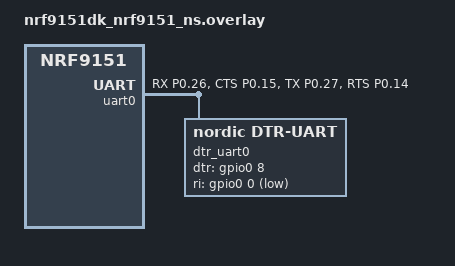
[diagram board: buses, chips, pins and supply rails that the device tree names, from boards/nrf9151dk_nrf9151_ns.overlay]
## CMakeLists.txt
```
#
# Copyright (c) 2019 Nordic Semiconductor
#
# SPDX-License-Identifier: LicenseRef-Nordic-5-Clause
#

cmake_minimum_required(VERSION 3.20.0)

find_package(Zephyr REQUIRED HINTS $ENV{ZEPHYR_BASE})
project(serial_modem)

# NORDIC SDK APP START
target_sources(app PRIVATE src/main.c)
target_sources(app PRIVATE src/sm_util.c)
target_sources(app PRIVATE src/sm_ctrl_pin.c)
target_sources(app PRIVATE src/sm_settings.c)
target_sources(app PRIVATE src/sm_at_host.c)
target_sources(app PRIVATE src/sm_at_commands.c)
target_sources(app PRIVATE src/sm_at_socket.c)
target_sources(app PRIVATE src/sm_at_dfu.c)
target_sources(app PRIVATE src/sm_uart_handler.c)
target_sources(app PRIVATE src/sm_log.c)
target_sources(app PRIVATE src/sm_at_urc_filter.c)
# NORDIC SDK APP END
target_sources_ifdef(CONFIG_SM_FW_UPDATE app PRIVATE src/sm_fw_update.c)
target_sources_ifdef(CONFIG_SM_FOTA_SESSION app PRIVATE src/sm_fota_session.c)
target_sources_ifdef(CONFIG_SM_FOTA app PRIVATE src/sm_at_fota.c)
target_sources_ifdef(CONFIG_SM_SMS app PRIVATE src/sm_at_sms.c)
target_sources_ifdef(CONFIG_SM_PPP app PRIVATE src/sm_ppp.c)
target_sources_ifdef(CONFIG_SM_CMUX app PRIVATE src/sm_cmux.c)
target_sources_ifdef(CONFIG_SM_ICMP app PRIVATE src/sm_at_icmp.c)
target_sources_ifdef(CONFIG_SM_GNSS app PRIVATE src/sm_at_gnss.c)
target_sources_ifdef(CONFIG_SM_NRF_CLOUD app PRIVATE src/sm_at_nrfcloud.c)
target_sources_ifdef(CONFIG_SM_NRF_CLOUD_OBSERVABILITY app PRIVATE src/sm_at_nrfcloud_obs.c)
target_sources_ifdef(CONFIG_SM_NRF_CLOUD_FOTA app PRIVATE src/sm_at_nrfcloud_fota.c)
target_sources_ifdef(CONFIG_SM_MQTTC app PRIVATE src/sm_at_mqtt.c)
target_sources_ifdef(CONFIG_SM_COAPC app PRIVATE src/sm_at_coap.c)
target_sources_ifdef(CONFIG_SM_HTTPC app PRIVATE src/sm_at_httpc.c)
target_sources_ifdef(CONFIG_SM_MODEM_TRACE_BACKEND_CMUX app PRIVATE src/sm_trace_backend_cmux.c)
target_sources_ifdef(CONFIG_SM_MODEM_TRACE_BACKEND_UART app PRIVATE src/sm_trace_backend_uart.c)
target_sources_ifdef(CONFIG_NRF_PROVISIONING app PRIVATE src/sm_at_provisioning.c)
target_sources_ifdef(CONFIG_SM_NRF_CLOUD_OBSERVABILITY_LTE_METRICS app PRIVATE src/sm_at_nrfcloud_obs_lte_metrics.c)

add_subdirectory_ifdef(CONFIG_SM_CARRIER src/lwm2m_carrier)

zephyr_include_directories(src)
zephyr_include_directories(memfault)

include(cmake/sm_version.cmake)
```

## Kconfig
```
#
# Copyright (c) 2019 Nordic Semiconductor
#
# SPDX-License-Identifier: LicenseRef-Nordic-5-Clause
#

source "Kconfig.zephyr"

menu "Nordic Serial Modem"

config SM_CUSTOMER_VERSION
	string "Customer version string"
	help
	   This version is reported together with baseline versions by AT command "#XSMVER".

config SM_AT_BUF_SIZE
	int "AT command buffer size"
	range 128 8192
	default 4096
	help
	  Size of the buffer for incoming AT commands and modem responses.

#
# external XTAL for UART
#
config SM_EXTERNAL_XTAL
	bool "Use external XTAL for UARTE"
	default y

#
# AT command terminator
#
choice
	prompt "Termination mode"
	default SM_CR_TERMINATION
	help
	  Sets the command terminator used by the serial terminal.
	  Available options are:
	  -  CR termination
	  -  LF termination
	  -  CR+LF termination

config SM_CR_TERMINATION
	bool "CR termination"

config SM_LF_TERMINATION
	bool "LF termination"

config SM_CR_LF_TERMINATION
	bool "CR+LF termination"

endchoice

#
# UART buffers (when CMUX is not in use)
#
config SM_UART_RX_BUF_COUNT
	int "Receive buffers for UART"
	range 2 4
	default 3
	help
	  Amount of buffers for receiving (RX) UART traffic.
	  If the buffers are full, UART RX will be disabled until the buffers are processed.
	  These buffers are not used when CMUX is in use.

config SM_UART_RX_BUF_SIZE
	int "Receive buffer size for UART"
	range 128 4096
	default 2048 if BOARD_THINGY91X_NRF9151_NS
	default 256
	help
	  Amount of received (RX), unprocessed, UART traffic that can be held by single buffer.
	  Increase buffer space for Thingy:91 X as hardware flow control is not used.
	  These buffers are not used when CMUX is in use.

config SM_UART_TX_BUF_SIZE
	int "Send buffer size for UART"
	range 128 8192
	default 256
	help
	  Amount of UART traffic waiting to be sent (TX), that can be held.
	  If the buffers are full, will send synchronously.
	  These buffers are not used when CMUX is in use.

config SM_URC_BUFFER_SIZE
	int "TX buffer size for unsolicited result codes (URC)"
	default 4096
	help
	  Buffer, in which unsolicited result codes (URC) are stored before being sent to the host.
	  The buffer has to be large enough to hold the largest URC that can be sent by the modem.
	  Result codes longer than this size will get dropped.

	  The URC in here means an URC from the Modem or from a thread which is not serving sm_work_queue.
	  Messages that are originally sent from sm_work_queue are part of AT-command responses, even though they are indistinguishable from the URCs.

	  This can be reduced if your use cases do not require lengthy notifications.
	  Note: %NCELLMEAS notifications can be nearly 4kB in size,
	  which explains the default value.

config SM_AT_ECHO_MAX_LEN
	int "Maximum length of AT command echo"
	range 2 4096
	default 4096
	help
	  Maximum length of AT command echo that will be sent back to the host when AT command echo is enabled.
	  AT commands longer than this value will be truncated in the echo.
	  The AT command terminator is included in this length and it is always echoed.

config SM_URC_DELAY_WITH_INCOMPLETE_ECHO_MS
	int "Delay for URC transmission when incomplete AT command echo is in progress (ms)"
	default 1000
	help
	  When AT command echo is enabled, and the command is spread over multiple RX buffers,
	  due to its length, or the speed of incoming data (typing), the command echo is considered incomplete
	  until the final part of the command (terminating character) has been received and echoed back to the host.

	  When the AT command echo is incomplete, URC transmissions are delayed by this amount of time for every
	  RX buffer (keystroke, while typing) received until the command echo is complete.

#
# Automatic network attach
#
config SM_AUTO_CONNECT
	bool "Automatically connect to the network on start-up or after a reset"
	help
	  Enables automatic connection to the network using the PDN configuration.

if SM_AUTO_CONNECT

config SM_AUTO_CONNECT_SYSTEM_MODE
	string "System mode for automatic network attach"
	default "1,1,1,0"
	help
	  Defines the default system mode using '%XSYSTEMMODE' AT command for automatic network attach.
	  The format is a comma-separated list of four integers. See the AT command reference for +XSYSTEMMODE for more details.
	  Default value enables LTE-M, NB-IoT, and GNSS, with no LTE preference.

config SM_AUTO_CONNECT_PDN_CONFIG
	bool "PDN configuration for automatic network attach"
	help
	  Enables sending of PDN configuration during automatic network attach.

if SM_AUTO_CONNECT_PDN_CONFIG

config SM_AUTO_CONNECT_PDN_APN
	string "APN for automatic network attach"
	default ""
	help
	  APN to use for automatic network attach.
	  If left empty, the APN configured in the modem will be used.

choice SM_AUTO_CONNECT_PDN_FAMILY
	prompt "PDN family (IP type) for automatic network attach"
	default SM_AUTO_CONNECT_PDN_FAMILY_IPV4V6
	help
	  Select the PDN family (IP address type) to use for automatic network attach.
	  See AT command reference for +CGDCONT for more details.

config SM_AUTO_CONNECT_PDN_FAMILY_IP
	bool "IPv4"
	help
	  Use IPv4 only for the PDN connection.

config SM_AUTO_CONNECT_PDN_FAMILY_IPV6
	bool "IPv6"
	help
	  Use IPv6 only for the PDN connection.

config SM_AUTO_CONNECT_PDN_FAMILY_IPV4V6
	bool "IPv4 and IPv6"
	help
	  Use both IPv4 and IPv6 for the PDN connection (dual stack).

config SM_AUTO_CONNECT_PDN_FAMILY_NON_IP
	bool "Non-IP"
	help
	  Use Non-IP PDN type for the connection.
	  This is used for data transmission without IP headers.

endchoice

config SM_AUTO_CONNECT_PDN_FAMILY_STRING
	string
	default "IP" if SM_AUTO_CONNECT_PDN_FAMILY_IP
	default "IPV6" if SM_AUTO_CONNECT_PDN_FAMILY_IPV6
	default "IPV4V6" if SM_AUTO_CONNECT_PDN_FAMILY_IPV4V6
	default "Non-IP" if SM_AUTO_CONNECT_PDN_FAMILY_NON_IP
	help
	  Internal use only. Represents the selected PDN family as a string.

config SM_AUTO_CONNECT_PDN_AUTH
	int "PDN authentication type for automatic network attach"
	default 0
	range 0 2
	help
	  PDN authentication type to use for automatic network attach.
	  0 = None
	  1 = PAP
	  2 = CHAP

config SM_AUTO_CONNECT_PDN_USERNAME
	string "PDN username for automatic network attach"
	default ""
	help
	  PDN username to use for automatic network attach.
	  Leave empty if no username is required.

config SM_AUTO_CONNECT_PDN_PASSWORD
	string "PDN password for automatic network attach"
	default ""
	help
	  PDN password to use for automatic network attach.
	  Leave empty if no password is required.

endif # SM_AUTO_CONNECT_PDN_CONFIG
endif # SM_AUTO_CONNECT

#
# Data mode
#
config SM_DATAMODE_TERMINATOR
	string "Pattern string to terminate data mode"
	default "+++"
	help
	  Use a pattern to terminate data mode

config SM_DATAMODE_BUF_SIZE
	int "Buffer size for data mode"
	range 1024 8192
	default 4096
	help
	  Size of the buffer for data received in data mode.

#
# Configurable services
#
config SM_SMS
	bool "SMS support"
	default y
	select SMS
	help
	  Support SMS send/receive in plain text

config SM_GNSS
	bool "GNSS support"
	default y

config SM_NRF_CLOUD
	bool "nRF Cloud support"
	default y
	select EXPERIMENTAL

config SM_MQTTC
	bool "MQTT client support"
	default y
	select EXPERIMENTAL
	select MQTT_LIB
	select MQTT_LIB_TLS

config SM_FULL_FOTA
	bool "Full modem FOTA support"

config SM_DFU_MODEM_FULL
	bool "Full modem DFU support"

config SM_PPP
	bool "PPP support"

config SM_CMUX
	bool "CMUX support"

if SM_PPP

config SM_PPP_FALLBACK_MTU
	int "Fallback MTU to be used by PPP"
	default 1280
	help
	  PPP tries to retrieve the cellular link MTU from the modem (using `AT+CGCONTRDP`).
	  If no MTU is returned by the modem, this value will be used as a fallback.
	  The MTU will be used for sending and receiving of data on both the PPP and cellular links.

endif # SM_PPP

if SM_CMUX || SM_PPP

config SM_MODEM_PIPE_TIMEOUT
	int "Timeout for the CMUX and PPP modem pipe operations in seconds"
	default 10

endif # SM_CMUX || SM_PPP

if SM_MQTTC

config SM_MQTTC_MESSAGE_BUFFER_LEN
	int "Size of the buffer for MQTT library"
	default 512
	help
	  Specifies maximum message size that can be transmitted/received through
	  MQTT (excluding MQTT PUBLISH payload).

endif # SM_MQTTC

if SM_GNSS

config SM_GNSS_OUTPUT_NMEA_SATELLITES
	bool "Output NMEA satellite messages (GSV, GSA)"
	default y if SM_LOG_LEVEL_DBG
	depends on SM_LOG_LEVEL_DBG
	help
	  If enabled, NMEA messages that pertain to the satellites will be output
	  along with the other NMEA messages. Those are output in debug logs, and
	  can also be output to a dedicated CMUX channel.

config SM_PGPS_INJECT_FIX_DATA
	bool "Inject the data obtained when acquiring a fix"
	default y
	depends on SM_GNSS
	depends on SM_NRF_CLOUD
	depends on NRF_CLOUD_PGPS
	help
	  If enabled, when a fix is acquired the current location and time will
	  be passed to the P-GPS subsystem.
	  It allows to speed up the time it takes to acquire the next fix when
	  A-GNSS is disabled or unavailable.
	  This can be detrimental to short TTFF if the device is expected to move
	  distances longer than a few dozen kilometers between fix attempts.
	  In that case this option should be disabled.

endif # SM_GNSS

if NRF_MODEM_LIB_TRACE

choice NRF_MODEM_LIB_TRACE_BACKEND

config SM_MODEM_TRACE_BACKEND_CMUX
	bool "CMUX modem trace backend"
	depends on SM_CMUX
	help
	  When CMUX is enabled, modem traces are transmitted on a dedicated CMUX channel.
	  The trace channel is the first channel after the AT command channel and the PPP channel.

endchoice # NRF_MODEM_LIB_TRACE_BACKEND

if SM_MODEM_TRACE_BACKEND_CMUX

config SM_MODEM_TRACE_DROP_ON_TIMEOUT
	bool "Drop modem trace data if the CMUX trace channel is slow"
	default y

config SM_MODEM_TRACE_CMUX_TX_TIMEOUT_MS
	int "Timeout for sending modem trace data over CMUX in milliseconds"
	default 100

endif # SM_MODEM_TRACE_BACKEND_CMUX
endif # NRF_MODEM_LIB_TRACE

#
# Hardware RX byte counting for UART
#
# Either hardware flow control OR hardware RX byte counting is required to prevent RX data loss.
# When hw-flow-control is enabled in devicetree, it handles flow management efficiently.
# When hw-flow-control is disabled, hardware RX byte counting is enabled to prevent data loss,
# but it consumes more power due to additional timer usage.
#
if UART_ASYNC_API

config UART_0_NRF_HW_ASYNC
	default y if HAS_HW_NRF_UARTE0 && !$(dt_nodelabel_bool_prop,uart0,hw-flow-control)

config UART_0_NRF_HW_ASYNC_TIMER
	default 0 if HAS_HW_NRF_UARTE0 && !$(dt_nodelabel_bool_prop,uart0,hw-flow-control)

config UART_2_NRF_HW_ASYNC
	default y if HAS_HW_NRF_UARTE2 && !$(dt_nodelabel_bool_prop,uart2,hw-flow-control)

config UART_2_NRF_HW_ASYNC_TIMER
	default 2 if HAS_HW_NRF_UARTE2 && !$(dt_nodelabel_bool_prop,uart2,hw-flow-control)

endif # UART_ASYNC_API

module = SM
module-str = serial modem
source "$(ZEPHYR_BASE)/subsys/logging/Kconfig.template.log_config"

rsource "src/lwm2m_carrier/Kconfig"

endmenu
```

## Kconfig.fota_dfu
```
#
# Copyright (c) 2026 Nordic Semiconductor ASA
#
# SPDX-License-Identifier: LicenseRef-Nordic-5-Clause
#

# Firmware update features, together with the Kconfig defaults they pull in.
#
# SM_FOTA enables the AT#XFOTA command (firmware download over HTTP/HTTPS).
# SM_DFU  enables the AT#XDFU* commands (local firmware upload).
#
# Features that update the firmware, including SM_NRF_CLOUD_FOTA and the LwM2M carrier library,
# share the code that is behind the hidden symbols below:
# - SM_FOTA_SESSION: the state of a FOTA session and the reporting of its result.
# - SM_FW_UPDATE: the functionality common to all firmware updates, like the confirmation
#   of a new application image.
#
# This file must be sourced before Kconfig.zephyr, see Kconfig.nrf_cloud for the reason why.

config SM_FOTA
	bool "FOTA (Firmware Over-The-Air) support"
	default y
	select HTTP_PARSER_URL
	help
	  Enable FOTA support via the AT#XFOTA command.

config SM_FULL_FOTA
	bool "Full modem FOTA support"
	depends on SM_FOTA

config SM_DFU
	bool "DFU (Device Firmware Update) support"
	default y
	help
	  Enable DFU support via the AT#XDFUINIT, AT#XDFUWRITE and AT#XDFUAPPLY commands.

config SM_DFU_MODEM_FULL
	bool "Full modem DFU support"
	depends on SM_DFU

config SM_FOTA_SESSION
	bool
	default y if SM_FOTA || SM_NRF_CLOUD_FOTA

config SM_FW_UPDATE
	bool
	default y if SM_FOTA_SESSION || SM_DFU

# Reading the MCUboot slot and version relies on the TF-M platform services.
config SM_TFM_MCUBOOT_INFO
	bool
	default y if SM_FW_UPDATE && BUILD_WITH_TFM

# The LwM2M carrier library depends on DOWNLOADER and DFU_TARGET, so the hidden symbols cannot
# depend on it, as that would make a dependency loop. SM_CARRIER depends on SM_FOTA_SESSION instead.

if SM_FOTA_SESSION

# FOTA download library: handles OTA download and DFU target selection.
configdefault FOTA_DOWNLOAD
	default y

configdefault FOTA_DOWNLOAD_PROGRESS_EVT
	default y

# Downloader library used by fota_download.
configdefault DOWNLOADER
	default y

configdefault DOWNLOADER_STACK_SIZE
	default 4096

configdefault DOWNLOADER_MAX_FILENAME_SIZE
	default 2048

# Progressive slot erase during FOTA download.
configdefault IMG_ERASE_PROGRESSIVELY
	default y

endif # SM_FOTA_SESSION

if SM_FW_UPDATE

# DFU target library: used by FOTA (streaming download targets) and DFU
# (direct write targets: MCUboot, modem delta, full modem).
configdefault DFU_TARGET
	default y

# Stream flash: required internally by the DFU target library for all targets
# that write to flash in chunks.
configdefault STREAM_FLASH
	default y

# MCUboot image manager: required for confirming and scheduling MCUboot updates.
configdefault IMG_MANAGER
	default y

endif # SM_FW_UPDATE

if SM_TFM_MCUBOOT_INFO

# MCUboot bootloader FOTA requires fw_info to validate the update after reboot.
configdefault FW_INFO
	default y

endif # SM_TFM_MCUBOOT_INFO
```

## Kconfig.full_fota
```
#
# Copyright (c) 2026 Nordic Semiconductor ASA
#
# SPDX-License-Identifier: LicenseRef-Nordic-5-Clause
#

# Application defaults for full modem FOTA, enabled by setting CONFIG_SM_FULL_FOTA=y.
#
# All settings are conditional on SM_FULL_FOTA so they have no effect when full FOTA is
# disabled, and they can be overridden by explicit values in a .conf file or on the command line.

if SM_FULL_FOTA

# External flash via SPI for storing the full modem firmware image during OTA.
configdefault SPI
	default y

configdefault SPI_NOR
	default y

# Select the devicetree SFDP variant (reads flash geometry from devicetree instead of runtime).
choice SPI_NOR_SFDP
	default SPI_NOR_SFDP_DEVICETREE
endchoice

# DFU target for streaming full modem firmware update.
configdefault DFU_TARGET
	default y

configdefault DFU_TARGET_STREAM
	default y

configdefault DFU_TARGET_FULL_MODEM
	default y

configdefault ZCBOR
	default y

configdefault FMFU_FDEV
	default y

configdefault FMFU_FDEV_SKIP_PREVALIDATION
	default n

configdefault PSA_WANT_ALG_SHA_256
	default y

configdefault STREAM_FLASH_INSPECT
	default n

endif # SM_FULL_FOTA
```

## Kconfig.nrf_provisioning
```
#
# Copyright (c) 2026 Nordic Semiconductor ASA
#
# SPDX-License-Identifier: LicenseRef-Nordic-5-Clause
#

# Application defaults for nRF Device Provisioning, enabled by setting CONFIG_NRF_PROVISIONING=y.
#
# All settings are conditional on NRF_PROVISIONING so they have no effect when provisioning is
# disabled, and they can be overridden by explicit values in a .conf file or on the command line.

if NRF_PROVISIONING

# Use CoAP transport instead of HTTP.
configdefault NRF_PROVISIONING_HTTP
	default n

configdefault NRF_PROVISIONING_COAP
	default y

configdefault NRF_PROVISIONING_WITH_CERT
	default y

configdefault NRF_PROVISIONING_ROOT_CA_SEC_TAG
	default 42384

configdefault NRF_PROVISIONING_PROVIDE_ATTESTATION_TOKEN
	default y

# Use INFO log level for provisioning.
choice NRF_PROVISIONING_LOG_LEVEL_CHOICE
	default NRF_PROVISIONING_LOG_LEVEL_INF
endchoice

# Three concurrent CoAP client instances are required: one for nRF Device Provisioning,
# one for AT#XCOAPCREQ requests, and one for AT#XNRFCLOUD CoAP-based cloud communication.
configdefault COAP_CLIENT_MAX_INSTANCES
	default 3

# Timeout for waiting for the modem to enter the desired connectivity state during provisioning.
configdefault NRF_PROVISIONING_MODEM_STATE_WAIT_TIMEOUT_SECONDS
	default 120

# Provisioning is host-triggered; disable scheduled auto-start.
configdefault NRF_PROVISIONING_SCHEDULED
	default n

configdefault NRF_PROVISIONING_AUTO_START_ON_INIT
	default n

# Use CBOR codec for provisioning message content.
configdefault NRF_PROVISIONING_CODEC
	default y

configdefault NRF_PROVISIONING_CBOR
	default y

configdefault ZCBOR
	default y

# Max provisioning commands in a single provisioning exchange.
configdefault NRF_PROVISIONING_CBOR_RECORDS
	default 5

# Adjust provisioning and buffer sizes to handle nRF Cloud certificates.
configdefault NRF_PROVISIONING_RX_BUF_SZ
	default 2304

configdefault NRF_PROVISIONING_TX_BUF_SZ
	default 2304

configdefault NRF_PROVISIONING_CODEC_AT_CMD_LEN
	default 2048

# CoAP support.
configdefault COAP
	default y

configdefault COAP_EXTENDED_OPTIONS_LEN
	default y

configdefault COAP_CLIENT
	default y

# Modem key management.
# Note: MODEM_ATTEST_TOKEN is intentionally NOT set here as a configdefault because
# NRF_PROVISIONING hard-depends on it (depends on MODEM_ATTEST_TOKEN), which means any
# "default y if NRF_PROVISIONING" condition on MODEM_ATTEST_TOKEN creates a circular
# dependency. Set CONFIG_MODEM_ATTEST_TOKEN=y explicitly alongside CONFIG_NRF_PROVISIONING=y.
configdefault MODEM_KEY_MGMT
	default y

endif # NRF_PROVISIONING
```

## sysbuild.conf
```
#
# Copyright (c) 2023 Nordic Semiconductor
#
# SPDX-License-Identifier: LicenseRef-Nordic-5-Clause
#
SB_CONFIG_SECURE_BOOT_APPCORE=n
SB_CONFIG_BOOTLOADER_MCUBOOT=y

#SB_CONFIG_SECURE_BOOT_NUM_VER_COUNTER_SLOTS=40

# Provide the keys to enable updating B1.
SB_CONFIG_BOOT_SIGNATURE_KEY_FILE="/home/mal6/ncs/_keys/mcuboot_priv.pem"
#SB_CONFIG_SECURE_BOOT_SIGNING_KEY_FILE="/home/mal6/ncs/_keys/nsib_priv.pem"
```

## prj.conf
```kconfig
#
# Copyright (c) 2020 Nordic Semiconductor ASA
#
# SPDX-License-Identifier: LicenseRef-Nordic-5-Clause
#
# General config
CONFIG_LOG=y
CONFIG_ASSERT=y
CONFIG_ASSERT_VERBOSE=n
CONFIG_LOG_DEFAULT_LEVEL=3
CONFIG_STACK_SENTINEL=y
CONFIG_PICOLIBC_IO_FLOAT=y
CONFIG_RING_BUFFER=y
CONFIG_REBOOT=y
CONFIG_POWEROFF=y
CONFIG_EVENTFD=y
CONFIG_NCS_APPLICATION_BOOT_BANNER_STRING="Serial Modem"

# Enable UART logging by default.
CONFIG_UART_CONSOLE=y
CONFIG_LOG_BACKEND_UART=y
# Logging starts automatically, but it is disabled after bootup.
CONFIG_LOG_BACKEND_UART_AUTOSTART=y

# Disable Segger RTT logging by default.
CONFIG_USE_SEGGER_RTT=n
CONFIG_RTT_CONSOLE=n
CONFIG_LOG_BACKEND_RTT=n
# Optional: when RTT logging is enabled, increase the RTT buffer so that
# all Serial Modem boot logs fit into the buffer.
#CONFIG_SEGGER_RTT_BUFFER_SIZE_UP=2048

# Enable Serial Modem debug logging by default. This is required for AT#XLOG=2.
CONFIG_SM_LOG_LEVEL_DBG=y

# Network
CONFIG_NETWORKING=y
CONFIG_NET_SOCKETS=y
CONFIG_NET_NATIVE=n
CONFIG_NET_IPV4=y
CONFIG_NET_IPV6=y

# Modem library
CONFIG_NRF_MODEM_LIB=y
CONFIG_AT_CMD_CUSTOM=y

# Modem pipe
CONFIG_MODEM_MODULES=y
CONFIG_MODEM_PIPE=y
CONFIG_MODEM_CMUX=y

# Handle modem fault
CONFIG_NRF_MODEM_LIB_ON_FAULT_APPLICATION_SPECIFIC=y

# Use GPIO
CONFIG_GPIO=y
CONFIG_GPIO_NRFX=y

# UART interface
CONFIG_SERIAL=y
CONFIG_UART_USE_RUNTIME_CONFIGURE=y
CONFIG_UART_ASYNC_API=y
CONFIG_UART_INTERRUPT_DRIVEN=n

# Stacks and heaps
CONFIG_MAIN_STACK_SIZE=2048
CONFIG_SYSTEM_WORKQUEUE_STACK_SIZE=4096
CONFIG_AT_MONITOR_HEAP_SIZE=4096
CONFIG_COMMON_LIBC_MALLOC=y
CONFIG_COMMON_LIBC_MALLOC_ARENA_SIZE=-1

# Device power management
CONFIG_PM_DEVICE=y
CONFIG_PM_DEVICE_RUNTIME=n

# FLASH
CONFIG_FLASH=y
CONFIG_FLASH_PAGE_LAYOUT=y
CONFIG_FLASH_MAP=y
CONFIG_MPU_ALLOW_FLASH_WRITE=y

# Settings
CONFIG_SETTINGS=y
CONFIG_SETTINGS_NVS=y
CONFIG_NVS=y

# Reset on fatal error instead of halting.
CONFIG_RESET_ON_FATAL_ERROR=y

# CoAP client settings
CONFIG_COAP_CLIENT_BLOCK_SIZE=512
CONFIG_COAP_CLIENT_MESSAGE_SIZE=576
CONFIG_COAP_CLIENT_THREAD_PRIORITY=0
# COAP_EXTENDED_OPTIONS_LEN_VALUE and COAP_CLIENT_MAX_EXTRA_OPTIONS are set in
# Kconfig.memfault, which bumps them when Memfault is enabled.
CONFIG_COAP_CLIENT_STACK_SIZE=2048

# UUID and JWT
CONFIG_MODEM_JWT=y

# Disabling antenna configurations since GNSS uses external antenna by default.
# Modem antenna library is enabled by default for nRF9151DK with onboard antenna configuration.
# If you need to use the onboard antenna, use "AT%XCOEX0=1,1,1565,1586" command.
CONFIG_MODEM_ANTENNA=n

# AT command helper libraries
CONFIG_AT_PARSER=y
CONFIG_AT_MONITOR=y

# SMS
CONFIG_SMS_STATUS_REPORT=n

# Eventfd's to use with AT-commands.
CONFIG_ZVFS_EVENTFD_MAX=2

# debug options
#CONFIG_LOG_BUFFER_SIZE=16384
#CONFIG_LOG_PRINTK=n
#CONFIG_LOG_MODE_IMMEDIATE=y
#CONFIG_DEBUG_OPTIMIZATIONS=y
#CONFIG_DTR_UART_LOG_LEVEL_DBG=y
```

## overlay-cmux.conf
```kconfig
#
# Copyright (c) 2023 Nordic Semiconductor ASA
#
# SPDX-License-Identifier: LicenseRef-Nordic-5-Clause
#

CONFIG_SM_CMUX=y

# Zephyr modem subsystem
CONFIG_MODEM_MODULES=y
CONFIG_MODEM_CMUX=y

# Align defaults with Linux
CONFIG_MODEM_CMUX_MTU=127
CONFIG_MODEM_CMUX_WORK_BUFFER_SIZE_EXTRA=5000

CONFIG_SM_UART_RX_BUF_COUNT=3
CONFIG_SM_UART_RX_BUF_SIZE=532
CONFIG_SM_UART_TX_BUF_SIZE=5200

# debug options
#CONFIG_MODEM_CMUX_LOG_LEVEL_DBG=y
#CONFIG_MODEM_MODULES_LOG_LEVEL_DBG=y
```

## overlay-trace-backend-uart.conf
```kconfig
#
# Copyright (c) 2026 Nordic Semiconductor ASA
#
# SPDX-License-Identifier: LicenseRef-Nordic-5-Clause
#

# Enable UART logging backend - shared with nRF modem traces.
CONFIG_UART_CONSOLE=y
CONFIG_RTT_CONSOLE=n
CONFIG_LOG_BACKEND_RTT=n
# Log backend starts disabled; the UART is off until activated via AT#XLOG=1.
CONFIG_LOG_BACKEND_UART=y
CONFIG_LOG_BACKEND_UART_AUTOSTART=y

# Enable UART modem trace backend - shared with the UART log backend.
CONFIG_SM_MODEM_TRACE_BACKEND_UART=y
CONFIG_NRF_MODEM_LIB_TRACE=y
# Modem trace level is controlled at runtime via AT#XTRACE. Start with traces off.
CONFIG_NRF_MODEM_LIB_TRACE_LEVEL_OVERRIDE=y
CONFIG_NRF_MODEM_LIB_TRACE_LEVEL_OFF=y
```

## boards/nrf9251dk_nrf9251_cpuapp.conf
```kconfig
#
# Copyright (c) 2026 Nordic Semiconductor
#
# SPDX-License-Identifier: LicenseRef-Nordic-5-Clause
#

CONFIG_SM_FOTA=n
CONFIG_SM_DFU=n
CONFIG_SM_NRF_CLOUD_FOTA=n

# Reset cause is read with the hwinfo API.
CONFIG_HWINFO=y

# UARTs are suspended explicitly.
CONFIG_PM=y
CONFIG_PM_DEVICE_SYSTEM_MANAGED=n
```

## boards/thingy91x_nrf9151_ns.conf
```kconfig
#
# Copyright (c) 2026 Nordic Semiconductor
#
# SPDX-License-Identifier: LicenseRef-Nordic-5-Clause
#

# TF-M
CONFIG_TFM_PROFILE_TYPE_MINIMAL=y
# Disable TF-M log sending as it will block until remote end is ready, when HWFC is used on UART1.
CONFIG_TFM_LOG_LEVEL_SILENCE=y
```

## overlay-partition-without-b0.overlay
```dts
/*
 * Copyright (c) 2026 Nordic Semiconductor ASA
 *
 * SPDX-License-Identifier: LicenseRef-Nordic-5-Clause
 *
 * Flash partition layout for nRF9151DK MCUBoot.
 *
 * 0x0000_0000  s0 (MCUBoot image, slot 0)   ( 64 kB)
 * 0x0001_0000  slot0 (primary app)          (472 kB)
 *   0x0001_0000  TF-M secure                ( 32 kB)
 *   0x0001_8000  Application (non-secure)   (440 kB - (MCUBoot swap sector + MCUboot trailer))
 * 0x0008_6000  slot1 (secondary app)        (472 kB)
 * 0x000f_c000  Non-secure storage           ( 16 kB)
 */

/delete-node/ &b0_partition;
/delete-node/ &s0_partition;
/delete-node/ &s1_partition;
/delete-node/ &slot0_partition;
/delete-node/ &slot1_partition;
/delete-node/ &nonsecure_storage;

&flash0 {
	partitions {
		s0_partition: boot_partition: partition@0 {
			label = "mcuboot-0";
			reg = <0x0 0x10000>;
		};

		slot0_partition: partition@10000 {
			compatible = "fixed-subpartitions";
			label = "image-0";
			reg = <0x10000 0x76000>;
			ranges = <0x0 0x10000 0x76000>;
			#address-cells = <1>;
			#size-cells = <1>;

			slot0_s_partition: partition@0 {
				label = "image-0-secure";
				reg = <0x0 0x8000>;
			};

			slot0_ns_partition: partition@8000 {
				label = "image-0-nonsecure";
				reg = <0x8000 0x6e000>;
			};
		};

		slot1_partition: partition@86000 {
			compatible = "fixed-subpartitions";
			label = "image-1";
			reg = <0x86000 0x76000>;
			ranges = <0x0 0x86000 0x76000>;
			#address-cells = <1>;
			#size-cells = <1>;

			slot1_s_partition: partition@0 {
				label = "image-1-secure";
				reg = <0x0 0x8000>;
			};

			slot1_ns_partition: partition@8000 {
				label = "image-1-nonsecure";
				reg = <0x8000 0x6e000>;
			};
		};

		nonsecure_storage: storage_partition: partition@fc000 {
			label = "nonsecure-storage";
			reg = <0xfc000 0x4000>;
		};
	};
};
```

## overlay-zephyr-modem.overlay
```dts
/*
 * Copyright (c) 2025 Nordic Semiconductor ASA
 *
 * SPDX-License-Identifier: LicenseRef-Nordic-5-Clause
 */

 / {
	chosen {
		ncs,sm-power-gpios = &power_gpios;
	};
};

/ {
	power_gpios: sm-power-gpios {
		compatible = "nordic,sm-power-gpios";
		power-gpios = <&gpio0 22 (GPIO_ACTIVE_HIGH | GPIO_PULL_DOWN)>;
		status = "okay";
	};
};

&gpio0 {
	status = "okay";
	/* Use PORT events to save power */
	sense-edge-mask = <0xFFFFFFFF>;
};
```

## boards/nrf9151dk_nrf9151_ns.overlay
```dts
/*
 * Copyright (c) 2024 Nordic Semiconductor ASA
 *
 * SPDX-License-Identifier: LicenseRef-Nordic-5-Clause
 */

#include "nrf9151dk_nrf9151_partition.dtsi"
#include "nrf9151dk_nrf9151_sram.dtsi"

/ {
	chosen {
		ncs,sm-uart = &dtr_uart0;
		nordic,pm-ext-flash = &gd25wb256;
	};
};

/* DTR with DK */
&uart0 {
	status = "okay";
	hw-flow-control;

	dtr_uart0: dtr-uart {
		compatible = "nordic,dtr-uart";
		dtr-gpios = <&gpio0 8 (GPIO_PULL_UP | GPIO_ACTIVE_HIGH)>;
		ri-gpios = <&gpio0 0 GPIO_ACTIVE_LOW>;
		status = "okay";
	};
	pinctrl-0 = <&uart0_default_alt>;
	pinctrl-1 = <&uart0_sleep_alt>;
	pinctrl-names = "default", "sleep";

};

&gpio0 {
	status = "okay";
	/* Use PORT event for DTR (8) pin to save power */
	sense-edge-mask = <BIT(8)>;
};


&pinctrl {
	uart0_default_alt: uart0_default_alt {
		group1 {
			psels = <NRF_PSEL(UART_RX, 0, 26)>;
			bias-pull-up;
		};
		group2 {
			psels = <NRF_PSEL(UART_CTS, 0, 15)>;
			bias-pull-down;
		};
		group3 {
			psels = <NRF_PSEL(UART_TX, 0, 27)>,
				<NRF_PSEL(UART_RTS, 0, 14)>;
		};
	};

	uart0_sleep_alt: uart0_sleep_alt {
		group1 {
			psels = <NRF_PSEL(UART_TX, 0, 27)>,
				<NRF_PSEL(UART_RX, 0, 26)>,
				<NRF_PSEL(UART_RTS, 0, 14)>,
				<NRF_PSEL(UART_CTS, 0, 15)>;
			low-power-enable;
		};
	};
};

/* Disable I2C2.
 * - Enabling IO expander causes ~20uA to be consumed while DTR is deasserted.
 * - We use P0.31 and P0.30 pins for DTR and RI signals with external MCU.
 */
&i2c2 {
	status = "disabled";
};
```

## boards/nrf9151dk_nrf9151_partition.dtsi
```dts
/*
 * Copyright (c) 2026 Nordic Semiconductor ASA
 *
 * SPDX-License-Identifier: LicenseRef-Nordic-5-Clause
 *
 * Flash partition layout for nRF9151DK with NSIB (b0) + MCUBoot.
 *
 * 0x0000_0000  b0 (NSIB)                    ( 32 kB)
 * 0x0000_8000  s0 (MCUBoot image, slot 0)   ( 48 kB)
 * 0x0001_4000  s1 (MCUBoot image, slot 1)   ( 48 kB)
 * 0x0002_0000  slot0 (primary app)          (444 kB)
 *   0x0002_0000  TF-M secure                ( 32 kB)
 *   0x0002_8000  Application (non-secure)   (412 kB - (MCUBoot swap sector + MCUboot trailer))
 * 0x0008_f000  slot1 (secondary app)        (440 kB)
 * 0x000f_d000  Non-secure storage           ( 12 kB)
 */

/delete-node/ &boot_partition;
/delete-node/ &slot0_partition;
/delete-node/ &slot1_partition;
/delete-node/ &tfm_ps_partition;
/delete-node/ &tfm_its_partition;
/delete-node/ &tfm_otp_partition;
/delete-node/ &storage_partition;

&flash0 {
	partitions {
		b0_partition: partition@0 {
			label = "b0";
			reg = <0x0 0x8000>;
		};

		s0_partition: partition@8000 {
			label = "mcuboot-0";
			reg = <0x8000 0xc000>;
		};

		s1_partition: partition@14000 {
			label = "mcuboot-1";
			reg = <0x14000 0xc000>;
		};

		slot0_partition: partition@20000 {
			compatible = "fixed-subpartitions";
			label = "image-0";
			reg = <0x20000 0x6f000>;
			ranges = <0x0 0x20000 0x6f000>;
			#address-cells = <1>;
			#size-cells = <1>;

			slot0_s_partition: partition@0 {
				label = "image-0-secure";
				reg = <0x0 0x8000>;
			};

			slot0_ns_partition: partition@8000 {
				label = "image-0-nonsecure";
				reg = <0x8000 0x67000>;
			};
		};

		slot1_partition: partition@8f000 {
			compatible = "fixed-subpartitions";
			label = "image-1";
			reg = <0x8f000 0x6e000>;
			ranges = <0x0 0x8f000 0x6e000>;
			#address-cells = <1>;
			#size-cells = <1>;

			slot1_s_partition: partition@0 {
				label = "image-1-secure";
				reg = <0x0 0x8000>;
			};

			slot1_ns_partition: partition@8000 {
				label = "image-1-nonsecure";
				reg = <0x8000 0x66000>;
			};
		};

		nonsecure_storage: storage_partition: partition@fd000 {
			label = "nonsecure-storage";
			reg = <0xfd000 0x3000>;
		};
	};
};
```

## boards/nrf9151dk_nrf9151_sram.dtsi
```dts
/*
 * Copyright (c) 2026 Nordic Semiconductor ASA
 *
 * SPDX-License-Identifier: LicenseRef-Nordic-5-Clause
 *
 * SRAM layout override for nRF9151DK, replacing the generic nrf91xx_partition.dtsi
 * layout with the correct modem IPC shared memory layout.
 */

/delete-node/ &sram0_s;
/delete-node/ &sram0_ns;

&sram0 {
	/*
	 * 0x2000_0000  Secure RAM                   (  16 kB)
	 * 0x2000_4000  Non-secure RAM area          ( 240 kB)
	 *   0x2000_4000  Modem shared area          (  34 kB)
	 *     0x2000_4000  control                  (1832 B)
	 *     0x2000_4728  app -> cell              (8408 B)
	 *     0x2000_6000  cell -> app              (   8 kB)
	 *     0x2000_8800  trace                    ( 16 kB)
	 *   0x2000_c800  Application RAM            ( 206 kB)
	 */

	sram0_s: sram@0 {
		reg = <0x0 0x4000>;
	};

	sram0_ns: sram@4000 {
		reg = <0x4000 0x3c000>;
		#address-cells = <1>;
		#size-cells = <1>;
		ranges = <0x0 0x4000 0x3c000>;

		/* Must be in first 128 kB of RAM. */
		sram0_ns_modem: sram0_ns@0 {
			/* Modem (shared) memory */
			reg = <0x0 0x8800>;
			#address-cells = <1>;
			#size-cells = <1>;
			ranges = <0x0 0x0 0x8800>;

			cpuapp_cpucell_ipc_shm_ctrl: sram0_ns_modem@0 {
				/* Modem IPC control */
				reg = <0x0 0x728>;
			};

			cpuapp_cpucell_ipc_shm_heap: sram0_ns_modem@728 {
				/* Modem IPC transmit */
				reg = <0x728 0x20d8>;
			};

			cpucell_cpuapp_ipc_shm_heap: sram0_ns_modem@2800 {
				/* Modem IPC receive */
				reg = <0x2800 0x2000>;
			};

			cpucell_cpuapp_ipc_shm_trace: sram0_ns_modem@4800 {
				/* Modem trace memory */
				reg = <0x4800 0x4000>;
			};

		};

		sram0_ns_app: sram0_ns@8800 {
			/* Non-Secure application memory */
			reg = <0x8800 0x33800>;
		};
	};
};
```

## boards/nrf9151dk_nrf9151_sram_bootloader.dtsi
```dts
/*
 * Copyright (c) 2026 Nordic Semiconductor ASA
 *
 * SPDX-License-Identifier: LicenseRef-Nordic-5-Clause
 *
 * SRAM layout override for nRF9151DK, replacing the generic nrf91xx_partition.dtsi
 * layout.
 */

/delete-node/ &sram0_s;
/delete-node/ &sram0_ns;

&sram0 {
	/* Use the same layout in B0 and MCUboot.
	 * Ensures that zeroing the secure RAM in MCUboot also clears the secure RAM used by B0.
	 *
	 * 0x2000_0000  Secure RAM                   (  48 kB)
	 * 0x2000_c000  Non-secure RAM area          ( 208 kB)
	 */

	sram0_s: sram@0 {
		reg = <0x0 0xc000>;
	};

	sram0_ns: sram@c000 {
		reg = <0xc000 0x34000>;
	};
};
```

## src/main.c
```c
/*
 * Copyright (c) 2019 Nordic Semiconductor ASA
 *
 * SPDX-License-Identifier: LicenseRef-Nordic-5-Clause
 */
#include <zephyr/logging/log.h>
#include <zephyr/kernel.h>
#include <nrf_modem.h>
#if !defined(CONFIG_SOC_SERIES_NRF92)
#include <hal/nrf_power.h>
#endif
#include <modem/nrf_modem_lib.h>
#include <zephyr/sys/reboot.h>
#include <zephyr/logging/log_ctrl.h>
#include <zephyr/drivers/hwinfo.h>
#if defined(CONFIG_MEMFAULT)
#include <memfault/core/trace_event.h>
#endif /* CONFIG_MEMFAULT */
#include "sm_at_host.h"
#include "sm_at_dfu.h"
#include "sm_at_fota.h"
#include "sm_fota_session.h"
#include "sm_fw_update.h"
#include "sm_settings.h"
#include "sm_util.h"
#include "sm_ctrl_pin.h"
#include "sm_uart_handler.h"
#include "sm_log.h"

LOG_MODULE_REGISTER(sm, CONFIG_SM_LOG_LEVEL);

struct k_work_q sm_work_q;
#if defined(CONFIG_SM_BLOCKING_WORK_Q)
struct k_work_q sm_blocking_work_q;
K_THREAD_STACK_DEFINE(sm_blocking_work_q_stack, CONFIG_SM_BLOCKING_WORK_Q_STACK_SIZE);
#endif
bool sm_init_failed = false;
uint8_t sm_modem_init_eio_retry_count;

/* Increase if periodic -EIO false positives are observed in the field. */
#define SM_MODEM_INIT_EIO_MAX_RETRIES 1

NRF_MODEM_LIB_ON_INIT(lwm2m_init_hook, on_modem_lib_init, NULL);

static void on_modem_lib_init(int ret, void *ctx)
{
	ARG_UNUSED(ctx);

	/** ret: Zero on success, a positive value @em nrf_modem_dfu when executing
	 *  Modem firmware updates, and negative errno on other failures.
	 */
	LOG_INF("lib_modem init: %d", ret);
}

#if defined(CONFIG_NRF_MODEM_LIB_ON_FAULT_APPLICATION_SPECIFIC)
static struct nrf_modem_fault_info modem_fault_info;

static void on_modem_failure(struct k_work *)
{
	int ret;
	struct modem_pipe *pipe = sm_at_host_get_urc_pipe();

#if defined(CONFIG_MEMFAULT)
	/* Record the modem fault as a Memfault trace event */
	MEMFAULT_TRACE_EVENT_WITH_LOG(modem_fault, "Modem fault: reason=0x%x pc=0x%x",
				      modem_fault_info.reason, modem_fault_info.program_counter);
#endif /* CONFIG_MEMFAULT */
	urc_send_to(pipe, "\r\n#XMODEM: FAULT,0x%x,0x%x\r\n", modem_fault_info.reason,
		    modem_fault_info.program_counter);

	ret = nrf_modem_lib_shutdown();
	urc_send_to(pipe, "\r\n#XMODEM: SHUTDOWN,%d\r\n", ret);

	ret = nrf_modem_lib_init();
	urc_send_to(pipe, "\r\n#XMODEM: INIT,%d\r\n", ret);
}
K_WORK_DEFINE(modem_failure_work, on_modem_failure);

void nrf_modem_fault_handler(struct nrf_modem_fault_info *fault_info)
{
	modem_fault_info = *fault_info;

	k_work_submit_to_queue(&sm_work_q, &modem_failure_work);
}
#endif /* CONFIG_NRF_MODEM_LIB_ON_FAULT_APPLICATION_SPECIFIC */

#if defined(CONFIG_SM_DFU)
static int bootloader_mode_init(void)
{
	int ret;

	ret = nrf_modem_lib_bootloader_init();
	if (ret) {
		LOG_ERR("Failed to initialize bootloader mode: %d", ret);
		return ret;
	}
	LOG_INF("Bootloader mode active");

	urc_send("Bootloader mode ready\r\n");

	sm_bootloader_mode_enabled = true;

	return 0;
}
#endif /* CONFIG_SM_DFU */

void lte_auto_connect(void)
{
#if defined(CONFIG_SM_AUTO_CONNECT)
	int err;
	int n;
	int stat;

	err = sm_util_at_scanf("AT+CEREG?", "+CEREG: %d,%d", &n, &stat);
	if (err != 2 || (stat == 1 || stat == 5)) {
		return;
	}

	LOG_INF("LTE auto connect");
	err = sm_util_at_printf("AT%%XSYSTEMMODE=%s", CONFIG_SM_AUTO_CONNECT_SYSTEM_MODE);
	if (err) {
		LOG_ERR("System mode %s: %d", CONFIG_SM_AUTO_CONNECT_SYSTEM_MODE, err);
		return;
	}

#if defined(CONFIG_SM_AUTO_CONNECT_PDN_CONFIG)
	err = sm_util_at_printf("AT+CGDCONT=0,%s,%s", CONFIG_SM_AUTO_CONNECT_PDN_FAMILY_STRING,
				CONFIG_SM_AUTO_CONNECT_PDN_APN);
	if (err) {
		LOG_ERR("PDN APN config failed: %d", err);
		return;
	}

	if (CONFIG_SM_AUTO_CONNECT_PDN_AUTH != 0) {
		err = sm_util_at_printf("AT+CGAUTH=0,%d,%s,%s", CONFIG_SM_AUTO_CONNECT_PDN_AUTH,
					CONFIG_SM_AUTO_CONNECT_PDN_USERNAME,
					CONFIG_SM_AUTO_CONNECT_PDN_PASSWORD);
		if (err) {
			LOG_ERR("PDN auth config failed: %d", err);
			return;
		}
	}
#endif /* CONFIG_SM_AUTO_CONNECT_PDN_CONFIG */

	err = sm_util_at_printf("AT+CFUN=1");
	if (err) {
		LOG_ERR("Failed to turn on radio: %d", err);
		return;
	}

#endif /* CONFIG_SM_AUTO_CONNECT */
}

static int init_sm_work_q(void)
{
	k_work_queue_init(&sm_work_q);
#if defined(CONFIG_SM_BLOCKING_WORK_Q)
	k_work_queue_init(&sm_blocking_work_q);
#endif
	return 0;
}
SYS_INIT(init_sm_work_q, PRE_KERNEL_1, 0);

int main(void)
{
	static const struct k_work_queue_config cfg = {
		.name = "sm_work_q",
		.essential = true,
	};
#if defined(CONFIG_SM_BLOCKING_WORK_Q)
	static const struct k_work_queue_config blocking_cfg = {
		.name = "sm_blocking_wq",
	};

	k_work_queue_start(&sm_blocking_work_q, sm_blocking_work_q_stack,
			   K_THREAD_STACK_SIZEOF(sm_blocking_work_q_stack),
			   K_LOWEST_APPLICATION_THREAD_PRIO, &blocking_cfg);
#endif

	k_thread_priority_set(k_current_get(), K_LOWEST_APPLICATION_THREAD_PRIO);
	k_work_queue_run(&sm_work_q, &cfg);
	return 0;
}

static int sm_main(void)
{
	int ret;

#if !defined(CONFIG_MEMFAULT)
#if defined(CONFIG_SOC_SERIES_NRF92)
	uint32_t rr;

	hwinfo_get_reset_cause(&rr);
	hwinfo_clear_reset_cause();
	LOG_DBG("Reset cause: 0x%08x", rr);
#else /* nRF91 series */
	const uint32_t rr = nrf_power_resetreas_get(NRF_POWER_NS);

	nrf_power_resetreas_clear(NRF_POWER_NS, 0x70017);
	LOG_DBG("Reset cause: 0x%08x", rr);
#endif
#endif /* !CONFIG_MEMFAULT */

#if defined(CONFIG_SM_DFU)
	if (sm_bootloader_mode_requested) {
		/* Clear bootloader mode flag */
		ret = bootloader_mode_request(false);
		if (ret) {
			LOG_ERR("Bootloader mode flag clear failed, starting in normal mode");
		} else {
			ret = bootloader_mode_init();
			if (ret) {
				LOG_ERR("Failed to initialize bootloader mode: %d", ret);
				goto exit_reboot;
			}
			return ret;
		}
	}
#endif /* CONFIG_SM_DFU */

#if defined(CONFIG_SM_FULL_FOTA)
	if (sm_fota_type == SM_FOTA_TYPE_FULL_MFW) {
		sm_finish_modem_full_fota();
	}
#endif

	ret = nrf_modem_lib_init();

	if (ret) {
		LOG_ERR("Modem library init failed: %d", ret);
		if (ret != -EAGAIN && ret != -EIO) {
			return ret;
		} else if (ret == -EIO) {
			if (sm_modem_init_eio_retry_count < SM_MODEM_INIT_EIO_MAX_RETRIES) {
				/* -EIO has been observed as a false positive when reset occurs
				 * during a flash operation.
				 */
				sm_modem_init_eio_retry_count++;
				LOG_WRN("Rebooting %u/%u, requesting bootloader mode",
					sm_modem_init_eio_retry_count,
					SM_MODEM_INIT_EIO_MAX_RETRIES);
				(void)sm_settings_modem_eio_retried_save();
				goto exit_reboot;
			}

			sm_modem_init_eio_retry_count = 0;
			(void)sm_settings_modem_eio_retried_save();

			LOG_ERR("Full modem firmware update required");
			if (IS_ENABLED(CONFIG_SM_DFU)) {
				(void)bootloader_mode_request(true);
				goto exit_reboot;
			}
			return ret;
		}
	} else if (sm_modem_init_eio_retry_count != 0) {
		/* Recovered on its own after the reboot(s) above: clear the retry count so a
		 * later, unrelated -EIO is not immediately escalated to bootloader mode.
		 */
		sm_modem_init_eio_retry_count = 0;
		(void)sm_settings_modem_eio_retried_save();
	}

	if (IS_ENABLED(CONFIG_SM_FOTA)) {
		sm_fota_mcuboot_bl_boot_check();
	}

	if (IS_ENABLED(CONFIG_SM_FW_UPDATE)) {
		sm_fw_update_boot_check();
	}

	if (sm_init_failed) {
		urc_send(SM_SYNC_ERR_STR);
	} else {
		urc_send(SM_SYNC_STR);
	}

	/* This is here and not earlier because in case of firmware
	 * update it will send an AT response so the UART must be up.
	 */
	if (IS_ENABLED(CONFIG_SM_FOTA_SESSION)) {
		sm_fota_post_process();
	}

	lte_auto_connect();

	LOG_INF("Serial Modem");

	return ret;

exit_reboot:
	sm_uart_tx_flush();
	sm_log_flush();
	/* sm_log_flush() only hands the last log line to the console UART backend; its
	 * async TX completion still needs the CPU to run once more before the reboot below
	 * cuts power, or the log is lost.
	 */
	k_sleep(K_MSEC(100));
	sys_reboot(SYS_REBOOT_COLD);
}
SYS_INIT(sm_main, APPLICATION, 100);
```

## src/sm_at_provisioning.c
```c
/*
 * Copyright (c) 2026 Nordic Semiconductor ASA
 *
 * SPDX-License-Identifier: LicenseRef-Nordic-5-Clause
 */

#include <zephyr/logging/log.h>
#include <modem/nrf_modem_lib.h>
#include <net/nrf_provisioning.h>
#include "sm_util.h"
#include "sm_at_host.h"

LOG_MODULE_REGISTER(sm_provisioning, CONFIG_SM_LOG_LEVEL);

enum xnrfprov_status {
	XNRFPROV_DONE = 0,                  /* Provisioning successful or no pending commands */
	XNRFPROV_NEED_LTE_DEACTIVATED = 1,  /* Host action required: deactivate LTE */
	XNRFPROV_NEED_LTE_ACTIVATED = 2,    /* Host action required: activate LTE */
	XNRFPROV_FAILED = -1,               /* Generic failure, retry */
	XNRFPROV_FAILED_NOT_CLAIMED = -2,   /* Device not claimed on nRF Cloud */
	XNRFPROV_FAILED_WRONG_ROOT_CA = -3, /* Wrong root CA certificate */
	XNRFPROV_FAILED_NO_DATETIME = -4,   /* No valid modem/network time */
	XNRFPROV_FAILED_TOO_MANY_CMDS = -5, /* Too many commands for the device to handle */
	XNRFPROV_FATAL_ERROR = -6,          /* Fatal / irrecoverable error */
};

static void xnrfprov_send_status(int status)
{
	urc_send("\r\n#XNRFPROV: %d\r\n", status);
}

static void xnrfprov_log_failed(const char *reason)
{
	LOG_ERR("Provisioning failed: %s", reason);
}

static void nrf_provisioning_callback(const struct nrf_provisioning_callback_data *event)
{
	switch (event->type) {
	case NRF_PROVISIONING_EVENT_START:
		LOG_INF("Provisioning started");
		break;
	case NRF_PROVISIONING_EVENT_STOP:
		LOG_INF("Provisioning stopped");
		break;
	case NRF_PROVISIONING_EVENT_NEED_LTE_DEACTIVATED:
		LOG_INF("Provisioning needs LTE deactivated");
		xnrfprov_send_status(XNRFPROV_NEED_LTE_DEACTIVATED);
		break;
	case NRF_PROVISIONING_EVENT_NEED_LTE_ACTIVATED:
		LOG_INF("Provisioning needs LTE activated");
		xnrfprov_send_status(XNRFPROV_NEED_LTE_ACTIVATED);
		break;
	case NRF_PROVISIONING_EVENT_FAILED_TOO_MANY_COMMANDS:
		xnrfprov_log_failed("too many commands for the device to handle");
		xnrfprov_send_status(XNRFPROV_FAILED_TOO_MANY_CMDS);
		break;
	case NRF_PROVISIONING_EVENT_NO_COMMANDS:
		LOG_INF("Provisioning done, no commands received");
		xnrfprov_send_status(XNRFPROV_DONE);
		break;
	case NRF_PROVISIONING_EVENT_FAILED:
		xnrfprov_log_failed("try again...");
		xnrfprov_send_status(XNRFPROV_FAILED);
		break;
	case NRF_PROVISIONING_EVENT_FAILED_DEVICE_NOT_CLAIMED:
		LOG_WRN("Provisioning failed: %s", "device not claimed");
		LOG_WRN("Claim the device using the device's attestation token on "
			"nrfcloud.com");

		/* TODO: Discuss in PR — the attestation token (AT%ATTESTTOKEN) is listed as
		 * sensitive data. Logging it here via LOG_WRN exposes it through the Zephyr
		 * log backend (serial/UART) and possibly through nRF Cloud Observability.
		 */
		if (IS_ENABLED(CONFIG_NRF_PROVISIONING_PROVIDE_ATTESTATION_TOKEN)) {
			LOG_WRN("Attestation token:\r\n\n%.*s.%.*s\r\n", event->token->attest_sz,
				event->token->attest, event->token->cose_sz, event->token->cose);
		}

		xnrfprov_send_status(XNRFPROV_FAILED_NOT_CLAIMED);
		break;
	case NRF_PROVISIONING_EVENT_FAILED_WRONG_ROOT_CA:
		xnrfprov_log_failed("wrong root CA certificate for nRF Cloud");
		xnrfprov_send_status(XNRFPROV_FAILED_WRONG_ROOT_CA);
		break;
	case NRF_PROVISIONING_EVENT_FAILED_NO_VALID_DATETIME:
		xnrfprov_log_failed("no valid modem/network time");
		xnrfprov_send_status(XNRFPROV_FAILED_NO_DATETIME);
		break;
	case NRF_PROVISIONING_EVENT_FATAL_ERROR:
		xnrfprov_log_failed("irrecoverable");
		xnrfprov_send_status(XNRFPROV_FATAL_ERROR);
		break;
	case NRF_PROVISIONING_EVENT_SCHEDULED_PROVISIONING:
		LOG_INF("Provisioning scheduled, next attempt in %lld seconds",
			event->next_attempt_time_seconds);
		urc_send("\r\n#XNRFPROV: %lld\r\n", event->next_attempt_time_seconds);
		break;
	case NRF_PROVISIONING_EVENT_DONE:
		LOG_INF("Provisioning done");
		xnrfprov_send_status(XNRFPROV_DONE);
		break;
	default:
		LOG_WRN("Unknown event type: %d", event->type);
		break;
	}
}

/* AT#XNRFPROV - Trigger provisioning immediately */
SM_AT_CMD_CUSTOM(xnrfprov, "AT#XNRFPROV", handle_at_provision);
STATIC int handle_at_provision(enum at_parser_cmd_type cmd_type, struct at_parser *parser,
			       uint32_t param_count)
{
	ARG_UNUSED(parser);
	ARG_UNUSED(param_count);

	switch (cmd_type) {
	case AT_PARSER_CMD_TYPE_SET: {
		int ret = nrf_provisioning_trigger_manually();

		if (ret) {
			LOG_ERR("Provisioning trigger failed: %d", ret);
			return ret;
		}
		return 0;
	}
	case AT_PARSER_CMD_TYPE_TEST:
		rsp_send("\r\n#XNRFPROV\r\n");
		return 0;
	default:
		return -EINVAL;
	}
}

static void sm_provisioning_init(int ret, void *ctx)
{
	int err;

	err = nrf_provisioning_init(nrf_provisioning_callback);
	if (err) {
		LOG_ERR("Provisioning init failed: %d", err);
		sm_init_failed = true;
	}
}

NRF_MODEM_LIB_ON_INIT(sm_provisioning_init_hook, sm_provisioning_init, NULL);
```
